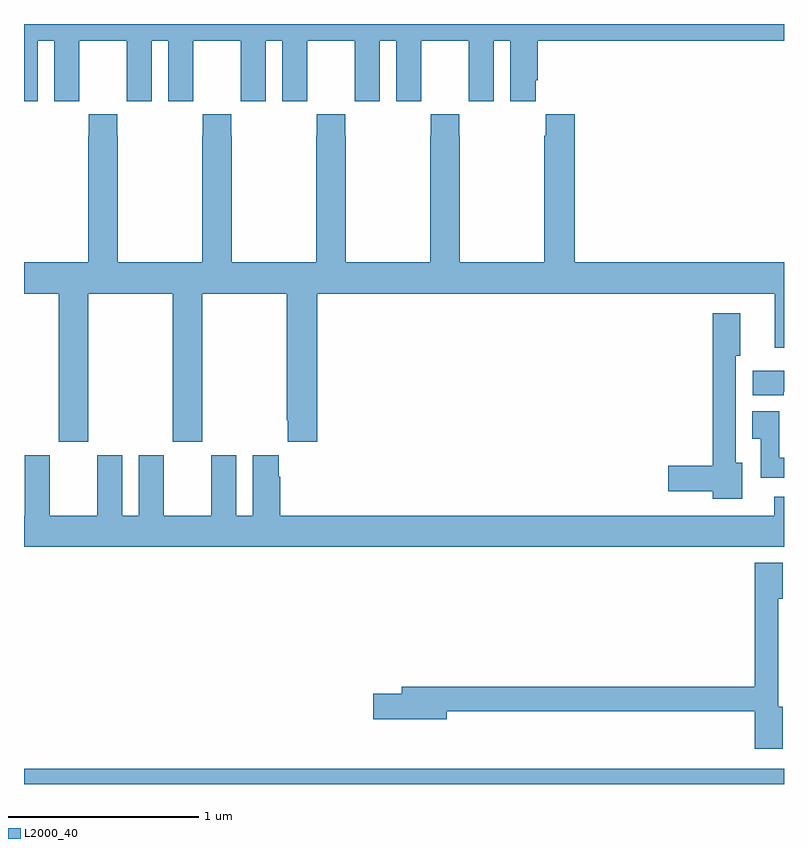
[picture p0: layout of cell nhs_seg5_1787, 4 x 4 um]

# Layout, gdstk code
import gdstk
lib = gdstk.Library(unit=1e-6, precision=1e-09)
def R(c, l, rs):  # rectangles x0, y0, x1, y1
    for r in rs: c.add(gdstk.rectangle(r[:2], r[2:], *l))
def P(c, l, *ps):  # polygons
    for p in ps: c.add(gdstk.Polygon(p, *l))
L2000_40 = (2000, 40)

nhs_seg5_1787 = lib.new_cell('nhs_seg5_1787')
R(nhs_seg5_1787, L2000_40, [(217,900.799,221,900.88)])
P(nhs_seg5_1787, L2000_40, [(217.072,904.712),(217.16,904.712),(217.16,904.392),(217.29,904.392),(217.29,904.504),(217.291,904.504),(217.291,904.712),(217.541,904.712),(217.541,904.504),(217.542,904.504),(217.542,904.392),(217.672,904.392),(217.672,904.712),(217.76,904.712),(217.76,904.392),(217.89,904.392),(217.89,904.504),(217.891,904.504),(217.891,904.712),(218.141,904.712),(218.141,904.504),(218.142,904.504),(218.142,904.392),(218.272,904.392),(218.272,904.712),(218.36,904.712),(218.36,904.392),(218.49,904.392),(218.49,904.504),(218.491,904.504),(218.491,904.712),(218.741,904.712),(218.741,904.504),(218.742,904.504),(218.742,904.392),(218.872,904.392),(218.872,904.712),(218.96,904.712),(218.96,904.392),(219.09,904.392),(219.09,904.504),(219.091,904.504),(219.091,904.712),(219.341,904.712),(219.341,904.504),(219.342,904.504),(219.342,904.392),(219.472,904.392),(219.472,904.712),(219.56,904.712),(219.56,904.392),(219.694,904.392),(219.694,904.504),(219.704,904.504),(219.704,904.712),(221,904.712),(221,904.799),(217,904.799),(217,904.392),(217.072,904.392)],
  [(217.338,903.38),(217.783,903.38),(217.783,902.601),(217.938,902.601),(217.938,903.38),(218.383,903.38),(218.383,902.713),(218.387,902.713),(218.387,902.601),(218.543,902.601),(218.543,903.38),(220.952,903.38),(220.952,903.096),(221,903.096),(221,903.544),(219.899,903.544),(219.899,904.324),(219.745,904.324),(219.745,904.211),(219.739,904.211),(219.739,903.544),(219.294,903.544),(219.294,904.211),(219.291,904.211),(219.291,904.324),(219.141,904.324),(219.141,904.211),(219.139,904.211),(219.139,903.544),(218.694,903.544),(218.694,904.211),(218.691,904.211),(218.691,904.324),(218.541,904.324),(218.541,904.211),(218.539,904.211),(218.539,903.544),(218.094,903.544),(218.094,904.211),(218.091,904.211),(218.091,904.324),(217.941,904.324),(217.941,904.211),(217.939,904.211),(217.939,903.544),(217.494,903.544),(217.494,904.211),(217.491,904.211),(217.491,904.324),(217.341,904.324),(217.341,904.211),(217.339,904.211),(217.339,903.544),(217,903.544),(217,903.38),(217.183,903.38),(217.183,902.601),(217.338,902.601)],
  [(220.78,902.491),(220.747,902.491),(220.747,903.054),(220.771,903.054),(220.771,903.277),(220.625,903.277),(220.625,902.474),(220.392,902.474),(220.392,902.339),(220.625,902.339),(220.625,902.3),(220.78,902.3)],
  [(220.998,902.864),(221,902.864),(221,902.974),(220.836,902.974),(220.836,902.846),(220.998,902.846)],
  [(221,902.515),(220.974,902.515),(220.974,902.761),(220.832,902.761),(220.832,902.617),(220.877,902.617),(220.877,902.411),(221,902.411)],
  [(221,902.311),(220.949,902.311),(220.949,902.212),(218.348,902.212),(218.348,902.417),(218.341,902.417),(218.341,902.53),(218.204,902.53),(218.204,902.212),(218.116,902.212),(218.116,902.53),(217.985,902.53),(217.985,902.212),(217.735,902.212),(217.735,902.53),(217.604,902.53),(217.604,902.212),(217.516,902.212),(217.516,902.53),(217.385,902.53),(217.385,902.212),(217.135,902.212),(217.135,902.53),(217.004,902.53),(217.004,902.212),(217,902.212),(217,902.048),(221,902.048)],
  [(220.993,901.206),(220.969,901.206),(220.969,901.773),(220.993,901.773),(220.993,901.963),(220.847,901.963),(220.847,901.31),(218.987,901.31),(218.987,901.274),(218.838,901.274),(218.838,901.139),(219.226,901.139),(219.226,901.182),(220.847,901.182),(220.847,900.984),(220.993,900.984)])

lib.write_gds('nhs_seg5_1787.gds')
